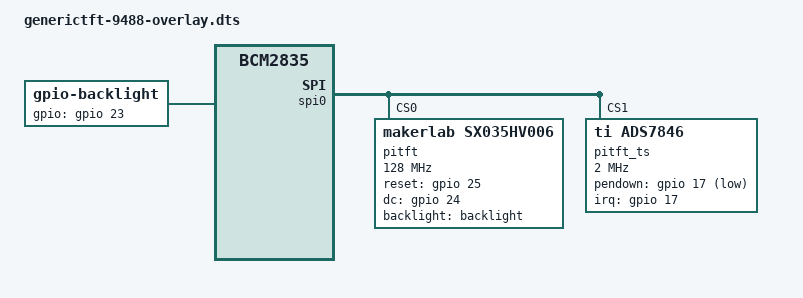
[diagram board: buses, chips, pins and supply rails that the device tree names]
/*
 * Device Tree overlay for MPS3520
 *
 */

/dts-v1/;
/plugin/;


/ {
        compatible = "brcm,bcm2835";

	fragment@0 {
		target = <&spi0>;
        __overlay__ {
			status = "okay";
		};
    };

	fragment@1 {
		target = <&spidev0>;
		__overlay__ {
			status = "disabled";
		};
	};
        
        fragment@2 {
                target = <&gpio>;
                __overlay__ {
                        pitft_pins: pitft_pins {
                                brcm,pins = <17 23 24 25>;
                                brcm,function = <0 1 1 1>; /* out out out */
                        };
                };
        };

        fragment@3 {
                target = <&spi0>;
                __overlay__ {
                        /* needed to avoid dtc warning */
                        #address-cells = <1>;
                        #size-cells = <0>;

                        pitft: pitft@0{
                                compatible = "makerlab,sx035hv006";
                                pinctrl-names = "default";
                                pinctrl-0 = <&pitft_pins>;

                                reg = <0>;
                                spi-max-frequency = <128000000>;

                                rotation = <0>;
				reset-gpios = <&gpio 25 0>;
                                dc-gpios = <&gpio 24 0>;
                                backlight = <&backlight>;
                        };
                        /* needed for touchscreen */
                        pitft_ts: pitft-ts@1 {
				compatible = "ti,ads7846";
				reg = <1>;

				spi-max-frequency = <2000000>;
				interrupts = <17 2>; /* high-to-low edge triggered */
				interrupt-parent = <&gpio>;
				pendown-gpio = <&gpio 17 1>;
				ti,swap-xy;
				ti,x-plate-ohms = /bits/ 16 <100>;
				ti,pressure-max = /bits/ 16 <255>;
			};
                };
        };
	
        fragment@4 {
		target-path = "/soc";
		__overlay__ {
			backlight: backlight {
				compatible = "gpio-backlight";
				gpios = <&gpio 23 0>;
			};
		};
	};
        
        __overrides__ {
                speed =   <&pitft>,"spi-max-frequency:0";
                rotation =  <&pitft>,"rotation:0";
        };
};
